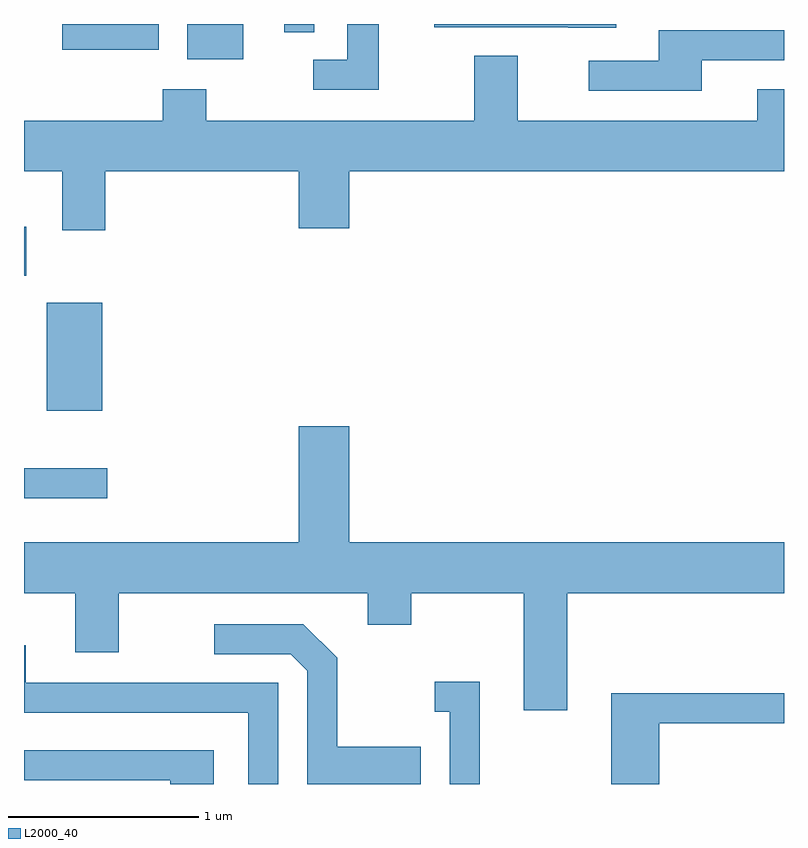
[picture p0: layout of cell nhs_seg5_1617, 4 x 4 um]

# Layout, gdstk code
import gdstk
lib = gdstk.Library(unit=1e-6, precision=1e-09)
def R(c, l, rs):  # rectangles x0, y0, x1, y1
    for r in rs: c.add(gdstk.rectangle(r[:2], r[2:], *l))
def P(c, l, *ps):  # polygons
    for p in ps: c.add(gdstk.Polygon(p, *l))
L2000_40 = (2000, 40)

nhs_seg5_1617 = lib.new_cell('nhs_seg5_1617')
R(nhs_seg5_1617, L2000_40, [(233.611,1399.576,234.048,1399.734), (233.731,1400.036,234.024,1400.604), (233.611,1400.746,233.624,1401.004), (234.471,1401.886,234.764,1402.072), (233.813,1401.936,234.319,1402.072), (234.981,1402.028,235.139,1402.072)])
P(nhs_seg5_1617, L2000_40, [(236.729,1402.072),(235.771,1402.072),(235.771,1402.056),(236.475,1402.056),(236.475,1402.051),(236.729,1402.051)],
  [(235.479,1402.072),(235.311,1402.072),(235.311,1401.884),(235.133,1401.884),(235.133,1401.726),(235.479,1401.726)],
  [(237.179,1401.881),(237.611,1401.881),(237.611,1402.039),(236.951,1402.039),(236.951,1401.879),(236.583,1401.879),(236.583,1401.721),(237.179,1401.721)],
  [(234.039,1401.296),(235.056,1401.296),(235.056,1400.996),(235.324,1400.996),(235.324,1401.296),(237.611,1401.296),(237.611,1401.729),(237.471,1401.729),(237.471,1401.564),(236.209,1401.564),(236.209,1401.904),(235.981,1401.904),(235.981,1401.564),(234.569,1401.564),(234.569,1401.729),(234.341,1401.729),(234.341,1401.564),(233.611,1401.564),(233.611,1401.296),(233.811,1401.296),(233.811,1400.986),(234.039,1400.986)],
  [(236.469,1399.076),(237.611,1399.076),(237.611,1399.344),(235.324,1399.344),(235.324,1399.954),(235.056,1399.954),(235.056,1399.344),(233.611,1399.344),(233.611,1399.076),(233.881,1399.076),(233.881,1398.766),(234.109,1398.766),(234.109,1399.076),(235.421,1399.076),(235.421,1398.911),(235.649,1398.911),(235.649,1399.076),(236.241,1399.076),(236.241,1398.461),(236.469,1398.461)],
  [(235.699,1398.269),(235.259,1398.269),(235.259,1398.737),(235.082,1398.914),(234.613,1398.914),(234.613,1398.756),(235.014,1398.756),(235.101,1398.669),(235.101,1398.072),(235.699,1398.072)],
  [(234.949,1398.604),(233.619,1398.604),(233.619,1398.803),(233.611,1398.803),(233.611,1398.446),(234.791,1398.446),(234.791,1398.072),(234.949,1398.072)],
  [(236.009,1398.609),(235.773,1398.609),(235.773,1398.451),(235.851,1398.451),(235.851,1398.072),(236.009,1398.072)],
  [(236.954,1398.391),(237.611,1398.391),(237.611,1398.549),(236.701,1398.549),(236.701,1398.072),(236.954,1398.072)],
  [(234.609,1398.249),(233.611,1398.249),(233.611,1398.091),(234.381,1398.091),(234.381,1398.072),(234.609,1398.072)])

lib.write_gds('nhs_seg5_1617.gds')
